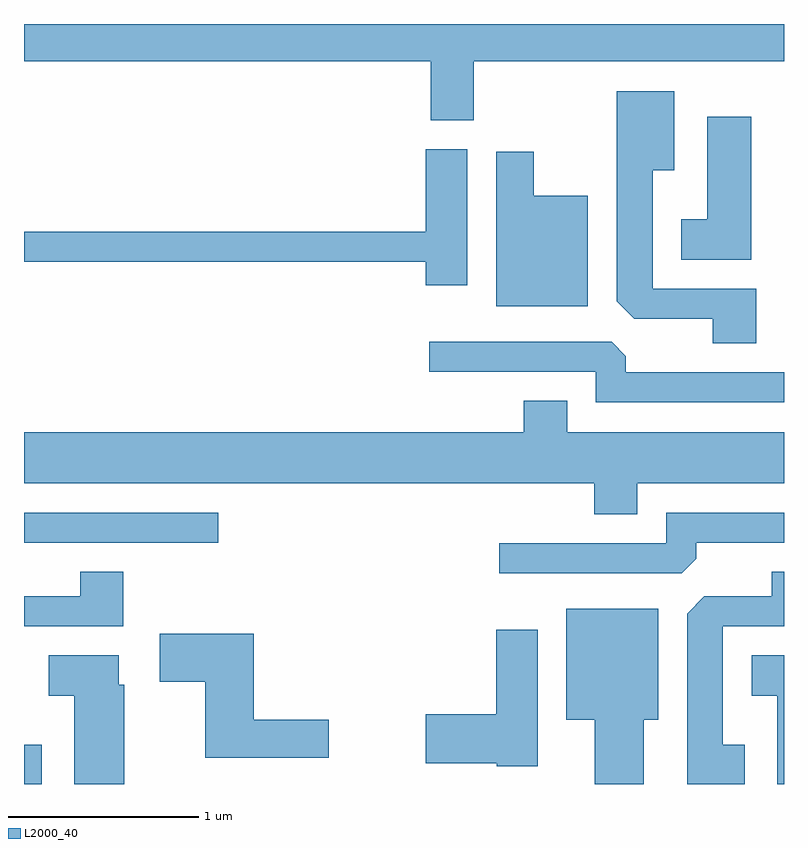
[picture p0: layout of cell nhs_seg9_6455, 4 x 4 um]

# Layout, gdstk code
import gdstk
lib = gdstk.Library(unit=1e-6, precision=1e-09)
def R(c, l, rs):  # rectangles x0, y0, x1, y1
    for r in rs: c.add(gdstk.rectangle(r[:2], r[2:], *l))
def P(c, l, *ps):  # polygons
    for p in ps: c.add(gdstk.Polygon(p, *l))
L2000_40 = (2000, 40)

nhs_seg9_6455 = lib.new_cell('nhs_seg9_6455')
R(nhs_seg9_6455, L2000_40, [(375.611,2012.432,375.704,2012.639), (375.611,2013.701,376.633,2013.859)])
P(nhs_seg9_6455, L2000_40, [(375.611,2016.236),(377.751,2016.236),(377.751,2015.926),(377.979,2015.926),(377.979,2016.236),(379.611,2016.236),(379.611,2016.432),(375.611,2016.432)],
  [(379.464,2015.039),(378.919,2015.039),(378.919,2015.661),(379.034,2015.661),(379.034,2016.079),(378.731,2016.079),(378.731,2014.972),(378.822,2014.881),(379.236,2014.881),(379.236,2014.751),(379.464,2014.751)],
  [(379.439,2015.944),(379.206,2015.944),(379.206,2015.404),(379.071,2015.404),(379.071,2015.191),(379.439,2015.191)],
  [(377.944,2015.774),(377.726,2015.774),(377.726,2015.339),(375.611,2015.339),(375.611,2015.181),(377.726,2015.181),(377.726,2015.056),(377.944,2015.056)],
  [(378.579,2015.529),(378.294,2015.529),(378.294,2015.759),(378.096,2015.759),(378.096,2014.946),(378.579,2014.946)],
  [(379.611,2014.599),(378.779,2014.599),(378.779,2014.684),(378.704,2014.759),(377.743,2014.759),(377.743,2014.601),(378.621,2014.601),(378.621,2014.441),(379.611,2014.441)],
  [(378.839,2014.016),(379.611,2014.016),(379.611,2014.284),(378.469,2014.284),(378.469,2014.449),(378.241,2014.449),(378.241,2014.284),(375.611,2014.284),(375.611,2014.016),(378.611,2014.016),(378.611,2013.851),(378.839,2013.851)],
  [(379.149,2013.617),(379.149,2013.701),(379.611,2013.701),(379.611,2013.859),(378.991,2013.859),(378.991,2013.699),(378.113,2013.699),(378.113,2013.541),(379.074,2013.541)],
  [(379.404,2012.639),(379.289,2012.639),(379.289,2013.261),(379.611,2013.261),(379.611,2013.549),(379.546,2013.549),(379.546,2013.419),(379.192,2013.419),(379.101,2013.329),(379.101,2012.432),(379.404,2012.432)],
  [(376.134,2013.549),(375.906,2013.549),(375.906,2013.419),(375.611,2013.419),(375.611,2013.261),(376.134,2013.261)],
  [(378.874,2012.771),(378.949,2012.771),(378.949,2013.354),(378.466,2013.354),(378.466,2012.771),(378.616,2012.771),(378.616,2012.432),(378.874,2012.432)],
  [(378.314,2013.244),(378.096,2013.244),(378.096,2012.799),(377.726,2012.799),(377.726,2012.541),(378.1,2012.541),(378.1,2012.526),(378.314,2012.526)],
  [(377.214,2012.769),(376.819,2012.769),(376.819,2013.224),(376.326,2013.224),(376.326,2012.971),(376.566,2012.971),(376.566,2012.571),(377.214,2012.571)],
  [(379.611,2013.109),(379.441,2013.109),(379.441,2012.896),(379.576,2012.896),(379.576,2012.432),(379.611,2012.432)],
  [(376.139,2012.954),(376.109,2012.954),(376.109,2013.109),(375.741,2013.109),(375.741,2012.896),(375.876,2012.896),(375.876,2012.432),(376.139,2012.432)])

lib.write_gds('nhs_seg9_6455.gds')
